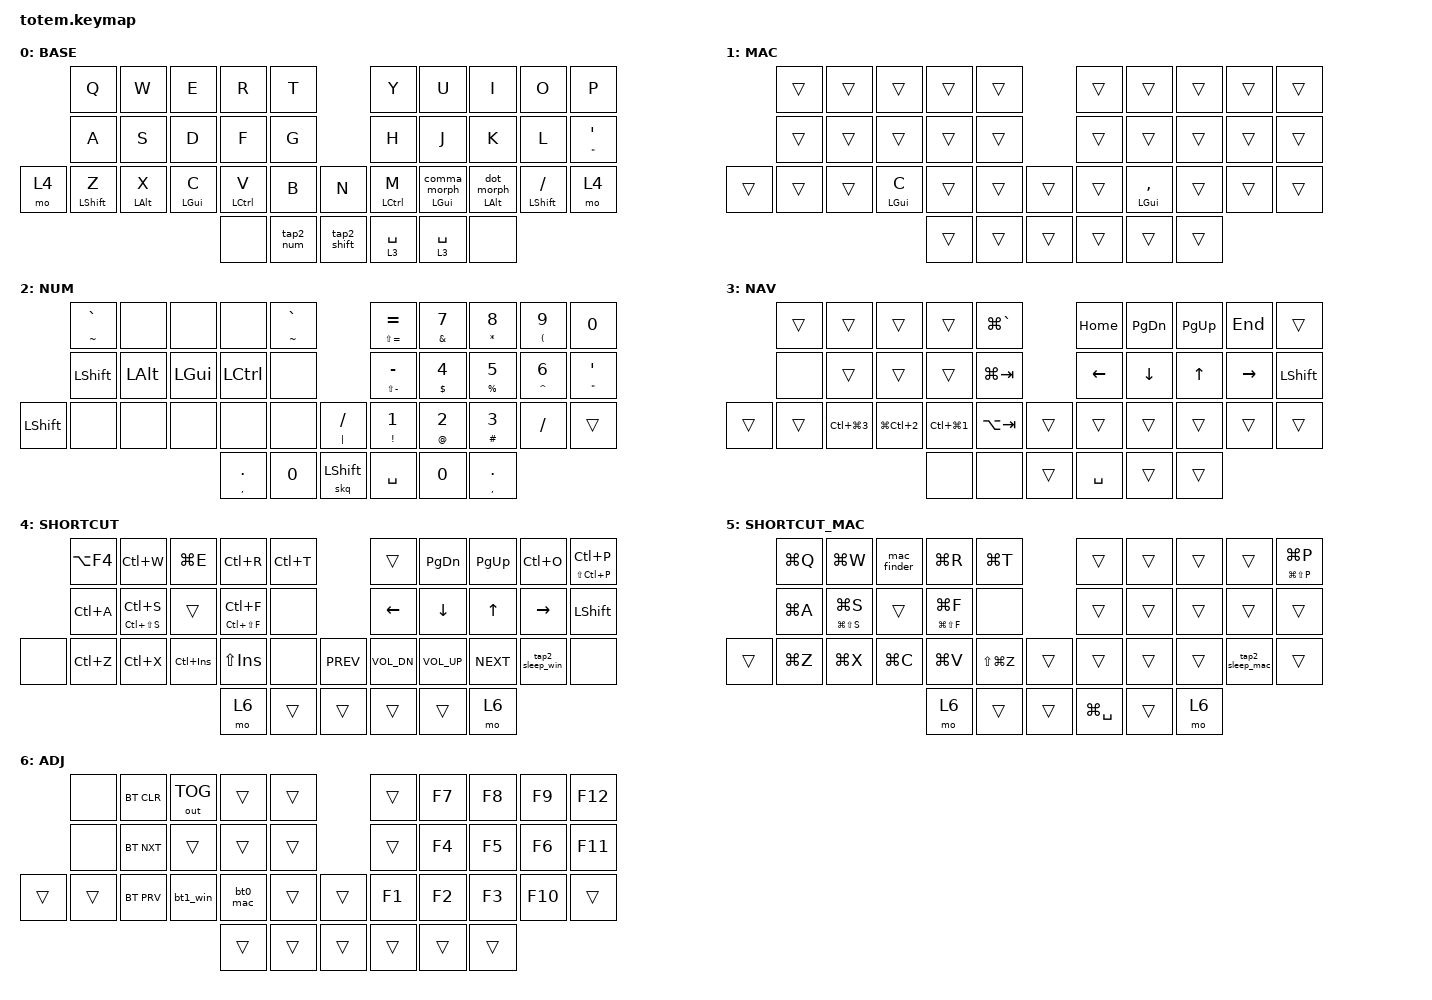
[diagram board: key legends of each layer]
//
//                                                        ▀▀▀▀▀     ▀▀▀▀▀          ▀▀█▀▀
//                                                        ▄▀▀▀▄  ▄  ▄▀▀▀▄  ▄  ▄▀▀▀▄  █  ▄▀▀▀▄
//                                                        █   █  █  █   █  █  █   █  █  █   █
//                                                         ▀▀▀   █   ▀▀▀   █   ▀▀▀   ▀   ▀▀▀
//                                                               █      ▄▄▄█▄▄▄    █   █
//                                                               ▀      █  █  █     █▄█
//                                                             ▀▀▀▀▀    █  █  █      ▀
//                                                                      ▀  ▀  ▀
//
// ▄▄▄▄▄▄▄▄▄▄▄▄▄▄▄▄▄▄▄▄▄▄▄▄▄▄▄▄▄▄▄▄▄▄▄▄▄▄▄▄▄▄▄▄▄▄▄▄▄▄▄▄▄▄▄▄▄▄▄▄▄▄▄▄▄▄▄▄▄▄▄▄▄▄▄▄▄▄▄▄▄▄▄▄▄▄▄▄▄▄▄▄▄▄▄▄▄▄▄▄▄▄▄▄▄▄▄▄▄▄▄▄▄▄▄▄▄▄▄▄▄▄▄▄▄▄▄▄▄▄▄▄▄▄▄▄▄▄▄▄▄▄▄▄▄▄▄▄▄

#include <behaviors.dtsi>
#include <dt-bindings/zmk/bt.h>
#include <dt-bindings/zmk/keys.h>
#include <dt-bindings/zmk/outputs.h>

#define BASE          0
#define MAC           1
#define NUM           2
#define NAV           3
#define SHORTCUT      4
#define SHORTCUT_MAC  5
#define ADJ           6
#define COMBO_FAST 35
#define STICKY_RELEASE_MS 330

&mt {
    quick-tap-ms = <250>;
    global-quick-tap-ms = <250>;
    flavor = "balanced";
    tapping-term-ms = <250>;
    hold-trigger-on-release;
};

&lt {
    quick-tap-ms = <220>;
    global-quick-tap-ms = <50>;
    flavor = "balanced";
    tapping-term-ms = <220>;
};

&sl {
    quick-release;
    release-after-ms = <STICKY_RELEASE_MS>;
};

/ {
    conditional_layers {
        compatible = "zmk,conditional-layers";

        tri_layer {
            if-layers = <SHORTCUT MAC>;
            then-layer = <SHORTCUT_MAC>;
        };
    };
};

/ {
    behaviors {
        ht: ht {
            compatible = "zmk,behavior-hold-tap";
            label = "(hold, tap)";
            bindings =
                <&kp>,
                <&kp>;

            #binding-cells = <2>;
            tapping-term-ms = <180>;
            quick-tap-ms = <250>;
            flavor = "tap-preferred";
            global-quick-tap-ms = <80>;
        };
        emt: emt {
            compatible = "zmk,behavior-hold-tap";
            label = "eager mod tap";
            bindings =
                <&kp>,
                <&kp>;

            #binding-cells = <2>;
            tapping-term-ms = <180>;
            quick-tap-ms = <250>;
            flavor = "balanced";
            global-quick-tap-ms = <250>;
            hold-while-undecided;
            hold-trigger-on-release;
        };
        skq: skq {
            compatible = "zmk,behavior-sticky-key";
            label = "quick release";
            bindings = <&kp>;
            #binding-cells = <1>;
            release-after-ms = <500>;
            ignore-modifiers;
            quick-release;
        };
        num_word: behavior_num_word {
            compatible = "zmk,behavior-caps-word";
            label = "NUM_WORD";
            #binding-cells = <0>;
            layers = <NUM>;// insert location of numbers layer here
            continue-list = <BACKSPACE DELETE DOT COMMA>;// adjust as desired
            ignore-numbers;// numbers don't deactivate the layer
        };
        bspc_morph: bspc_morph {
            compatible = "zmk,behavior-mod-morph";
            label = "BSPC_MORPH";
            bindings =
                <&kp BSPC>,
                <&kp DEL>;

            #binding-cells = <0>;
            mods = <(MOD_RSFT|MOD_LSFT)>;
        };
        rbrc_morph: rbrc_morph {
            compatible = "zmk,behavior-mod-morph";
            label = "RBRC_MORPH";
            bindings =
                <&kp RBRC>,
                <&kp LBRC>;

            #binding-cells = <0>;
            mods = <(MOD_RSFT|MOD_LSFT)>;
        };
        tap2_shift: tap2_shift {
            compatible = "zmk,behavior-tap-dance";
            label = "TAP2_SHIFT";
            #binding-cells = <0>;
            bindings =
                <&skq LEFT_SHIFT>,
                <&caps_word>;
        };
        tap2_num: tap2_num {
            compatible = "zmk,behavior-tap-dance";
            label = "TAP2_NUM";
            #binding-cells = <0>;
            bindings =
                <&sl 2>,
                <&num_word>;
        };
        tap2_sleep_win: tap2_sleep_win {
            compatible = "zmk,behavior-tap-dance";
            label = "TAP2_SLEEP_WIN";
            #binding-cells = <0>;
            bindings =
                <&none>,
                <&win_sleep>;
        };
        tap2_sleep_mac: tap2_sleep_mac {
            compatible = "zmk,behavior-tap-dance";
            label = "TAP2_SLEEP_MAC";
            #binding-cells = <0>;
            bindings =
                <&none>,
                <&kp LA(LG(S))>;
        };
        lth: lth {
            compatible = "zmk,behavior-hold-tap";
            label = "lt-hold-pref";
            bindings =
                <&mo>,
                <&kp>;

            #binding-cells = <2>;
            tapping-term-ms = <200>;
        };
        sft_t: sft_t {
            compatible = "zmk,behavior-hold-tap";
            label = "holdtap-hold-pref";
            bindings =
                <&kp>,
                <&kp>;

            #binding-cells = <2>;
            tapping-term-ms = <200>;
            quick-tap-ms = <250>;
            hold-trigger-on-release;
        };
        comma_morph: comma_morph {
            compatible = "zmk,behavior-mod-morph";
            label = "COMMA_MORPH";
            bindings =
                <&kp COMMA>,
                <&kp SEMI>;

            #binding-cells = <0>;
            mods = <(MOD_LSFT|MOD_RSFT)>;
        };
        dot_morph: dot_morph {
            compatible = "zmk,behavior-mod-morph";
            label = "DOT_MORPH";
            bindings =
                <&kp DOT>,
                <&kp COLON>;

            #binding-cells = <0>;
            mods = <(MOD_LSFT|MOD_RSFT)>;
        };
        comma_morph_t: comma_morph_t {
            compatible = "zmk,behavior-hold-tap";
            label = "COMMA_MORPH_T";
            bindings =
                <&kp>,
                <&comma_morph>;

            #binding-cells = <2>;
            tapping-term-ms = <200>;
            quick-tap-ms = <200>;
            flavor = "balanced";
            hold-trigger-on-release;
        };
        dot_morph_t: dot_morph_t {
            compatible = "zmk,behavior-hold-tap";
            label = "DOT_MORPH_T";
            bindings =
                <&kp>,
                <&dot_morph>;

            #binding-cells = <2>;
            tapping-term-ms = <200>;
            quick-tap-ms = <200>;
            flavor = "balanced";
            hold-trigger-on-release;
        };
    };
};

/ {
    combos {
        compatible = "zmk,combos";

        combo_tab {
            bindings = <&kp TAB>;
            key-positions = <12 13>;
            global-quick-tap-ms = <80>;
            layers = <BASE MAC>;
        };

        combo_enter {
            bindings = <&kp ENTER>;
            key-positions = <16 17>;
            global-quick-tap-ms = <80>;
            layers = <BASE MAC NUM>;
        };

        combo_lbkt {
            bindings = <&kp LBKT>;
            key-positions = <1 11>;
            global-quick-tap-ms = <80>;
        };

        combo_lbrc {
            bindings = <&kp LBRC>;
            key-positions = <2 12>;
            global-quick-tap-ms = <80>;
        };

        combo_lpar {
            bindings = <&kp LPAR>;
            key-positions = <3 13>;
            global-quick-tap-ms = <80>;
        };

        combo_lt {
            bindings = <&kp LT>;
            key-positions = <4 14>;
            global-quick-tap-ms = <80>;
        };

        combo_gt {
            bindings = <&kp GT>;
            key-positions = <5 15>;
            global-quick-tap-ms = <80>;
        };

        combo_rpar {
            bindings = <&kp RPAR>;
            key-positions = <6 16>;
            global-quick-tap-ms = <80>;
        };

        combo_rbrc {
            bindings = <&rbrc_morph>;
            key-positions = <7 17>;
            global-quick-tap-ms = <80>;
        };

        combo_rbkt {
            bindings = <&kp RBKT>;
            key-positions = <8 18>;
            global-quick-tap-ms = <80>;
        };

        combo_esc0 {
            bindings = <&kp ESC>;
            key-positions = <11 12>;
            global-quick-tap-ms = <COMBO_FAST>;
        };

        combo_bspc {
            bindings = <&kp BSPC>;
            key-positions = <18 17>;
            global-quick-tap-ms = <COMBO_FAST>;
        };
    };

    macros {
        win_sleep: win_sleep {
            label = "giphy";
            compatible = "zmk,behavior-macro";
            #binding-cells = <0>;
            bindings = <&kp LG(X) &kp U &kp S>;
        };
        mac_finder: mac_finder {
            compatible = "zmk,behavior-macro";
            label = "mac_finder";
            #binding-cells = <0>;
            bindings =
                <&kp LG(SPACE)>,
                <&macro_tap_time 1>,
                <&macro_wait_time 1>,
                <&kp F &kp I &kp N &kp D &kp E &kp R &kp DOT &kp A &kp P &kp P &kp RET>;
        };
        space_shift: space_shift {
            compatible = "zmk,behavior-macro";
            label = "space_shift";
            #binding-cells = <0>;
            bindings = <&kp SPACE &skq LEFT_SHIFT>;
        };
        bt0_mac: bt0_mac {
            compatible = "zmk,behavior-macro";
            label = "bt0_mac";
            #binding-cells = <0>;
            bindings = <&bt BT_SEL 0 &to 1>;
        };
        bt1_win: bt1_win {
            compatible = "zmk,behavior-macro";
            label = "bt1_win";
            #binding-cells = <0>;
            bindings = <&bt BT_SEL 1 &to 0>;
        };
    };
};

/ {
    keymap {
        compatible = "zmk,keymap";

        base_layer {
            label = "BASE";
            bindings = <
                     &kp Q            &kp W           &kp E               &kp R        &kp T        &kp Y               &kp U                      &kp I                    &kp O                    &kp P
                     &kp A            &kp S           &kp D               &kp F        &kp G        &kp H               &kp J                      &kp K                    &kp L              &ht DQT SQT
&mo 4  &sft_t LEFT_SHIFT Z  &emt LEFT_ALT X  &mt LEFT_GUI C  &mt LEFT_CONTROL V        &kp B        &kp N  &mt LEFT_CONTROL M  &comma_morph_t LEFT_GUI 0  &dot_morph_t LEFT_ALT 0  &sft_t LEFT_SHIFT SLASH  &mo 4
                                                      &none           &tap2_num  &tap2_shift  &lt 3 SPACE         &lt 3 SPACE                      &none
            >;
        };

        MAC {
            bindings = <
        &trans  &trans           &trans  &trans  &trans  &trans  &trans               &trans  &trans  &trans
        &trans  &trans           &trans  &trans  &trans  &trans  &trans               &trans  &trans  &trans
&trans  &trans  &trans  &emt LEFT_GUI C  &trans  &trans  &trans  &trans  &emt LEFT_GUI COMMA  &trans  &trans  &trans
                                 &trans  &trans  &trans  &trans  &trans               &trans
            >;
        };

        num {
            label = "NUM";
            bindings = <
                &ht TILDE GRAVE     &none          &none         &none  &ht TILDE GRAVE  &ht LS(EQUAL) EQUAL    &ht AMPS N7    &ht ASTRK N8   &ht LPAR N9  &kp NUMBER_0
                     &kp LSHIFT  &kp LALT       &kp LGUI     &kp LCTRL            &none  &ht LS(MINUS) MINUS  &ht DOLLAR N4  &ht PERCENT N5  &ht CARET N6   &ht DQT SQT
&kp LEFT_SHIFT            &none     &none          &none         &none            &none       &ht PIPE SLASH    &ht EXCL N1       &ht AT N2   &ht HASH N3     &kp SLASH  &trans
                                           &ht COMMA DOT  &kp NUMBER_0  &skq LEFT_SHIFT            &kp SPACE   &kp NUMBER_0   &ht COMMA DOT
            >;
        };

        nav {
            label = "NAV";
            bindings = <
        &trans                &trans                &trans                &trans  &kp LG(GRAVE)   &kp HOME  &kp PG_DN  &kp PG_UP    &kp END     &trans
         &none                &trans                &trans                &trans    &kp LG(TAB)   &kp LEFT   &kp DOWN     &kp UP  &kp RIGHT  &kp LSHFT
&trans  &trans  &kp LC(LG(NUMBER_3))  &kp LG(LC(NUMBER_2))  &kp LC(LG(NUMBER_1))    &kp LA(TAB)     &trans     &trans     &trans     &trans     &trans  &trans
                                                     &none                 &none         &trans  &kp SPACE     &trans     &trans
            >;
        };

        shortcut {
            label = "SHORTCUT";
            bindings = <
       &kp LA(F4)            &kp LC(W)    &kp LG(E)            &kp LC(R)  &kp LC(T)      &trans     &kp PG_DN     &kp PG_UP   &kp LC(O)  &ht LS(LC(P)) LC(P)
        &kp LC(A)  &ht LC(LS(S)) LC(S)       &trans  &ht LC(LS(F)) LC(F)      &none    &kp LEFT      &kp DOWN        &kp UP   &kp RIGHT            &kp LSHFT
&none   &kp LC(Z)            &kp LC(X)  &kp LC(INS)          &kp LS(INS)      &none  &kp C_PREV  &kp C_VOL_DN  &kp C_VOL_UP  &kp C_NEXT      &tap2_sleep_win  &none
                                              &mo 6               &trans     &trans      &trans        &trans         &mo 6
            >;
        };

        shortcut_mac {
            label = "SHORTCUT_MAC";
            bindings = <
        &kp LG(Q)            &kp LG(W)  &mac_finder            &kp LG(R)      &kp LG(T)         &trans  &trans  &trans  &trans  &ht LG(LS(P)) LG(P)
        &kp LG(A)  &ht LG(LS(S)) LG(S)       &trans  &ht LG(LS(F)) LG(F)          &none         &trans  &trans  &trans  &trans               &trans
&trans  &kp LG(Z)            &kp LG(X)    &kp LG(C)            &kp LG(V)  &kp LS(LG(Z))         &trans  &trans  &trans  &trans      &tap2_sleep_mac  &trans
                                              &mo 6               &trans         &trans  &kp LG(SPACE)  &trans   &mo 6
            >;
        };

        adjust_layer {
            label = "ADJ";
            bindings = <
         &none  &bt BT_CLR  &out OUT_TOG    &trans  &trans  &trans  &kp F7  &kp F8  &kp F9  &kp F12
         &none  &bt BT_NXT        &trans    &trans  &trans  &trans  &kp F4  &kp F5  &kp F6  &kp F11
&trans  &trans  &bt BT_PRV      &bt1_win  &bt0_mac  &trans  &trans  &kp F1  &kp F2  &kp F3  &kp F10  &trans
                                  &trans    &trans  &trans  &trans  &trans  &trans
            >;
        };
    };
};
